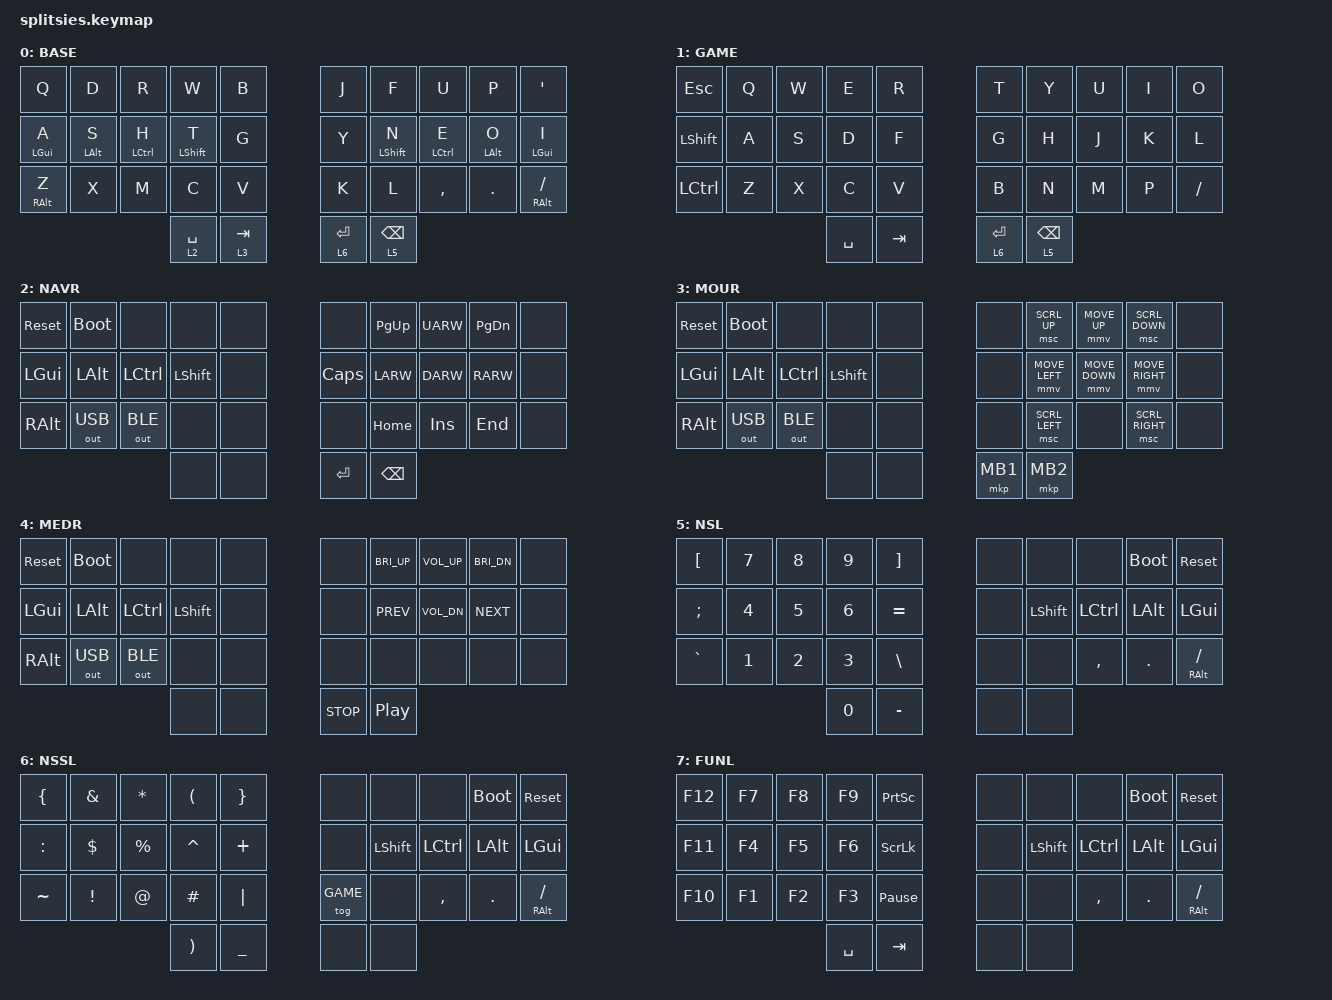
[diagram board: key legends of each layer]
#define ZMK_POINTING_DEFAULT_MOVE_VAL 2000  // 600
#define ZMK_POINTING_DEFAULT_SCRL_VAL 15    // 10

#include <behaviors.dtsi>
#include <dt-bindings/zmk/keys.h>
#include <dt-bindings/zmk/bt.h>
#include <dt-bindings/zmk/pointing.h>
#include <dt-bindings/zmk/outputs.h>

#define BASE 0
#define GAME 1
#define NAVR 2
#define MOUR 3
#define MEDR 4
#define NSL  5
#define NSSL 6
#define FUNL 7

&mt {
    tapping-term-ms = <165>;
    quick-tap-ms = <165>;
    flavor = "tap-preferred";
};

&lt {
    tapping-term-ms = <165>;
    quick-tap-ms = <165>;
    flavor = "tap-preferred";
};

/ {
  behaviors {
    mmv {
    acceleration-exponent = <1>;      // 1
    time-to-max-speed-ms = <150>;    // 40
    delay-ms = <0>;                   // 0
    };

    msc {
    acceleration-exponent = <0>;      // 0
    time-to-max-speed-ms = <150>;      // 500
    delay-ms = <0>;                   // 10
    };
  };
  combos {
    compatible = "zmk,combos";	 //combos key position follow actual key position from left to right, top to bottom.
    
    combo_medr {
    timeout-ms = <50>;
    key-positions = <30 31>;
    bindings = <&lt 4 ESC>;
    layers = <0>;
    };
    
    combo_funl {
    timeout-ms = <50>;
    key-positions = <32 33>;
    bindings = <&lt 7 DEL>;
    layers = <0>;
    };	
	
    combo_del {
    timeout-ms = <50>;
    key-positions = <32 33>;
    bindings = <&kp DEL>;
    layers = <2>;
    };	

    combo_mb3 {
    timeout-ms = <50>;
    key-positions = <32 33>;
    bindings = <&mkp MB3>;
    layers = <3>;
    };	

    combo_mute {
    timeout-ms = <50>;
    key-positions = <32 33>;
    bindings = <&kp K_MUTE>;
    layers = <4>;
    };	

    combo_dot {
    timeout-ms = <50>;
    key-positions = <30 31>;
    bindings = <&kp DOT>;
    layers = <5>;
    };	

    combo_lpar {
    timeout-ms = <50>;
    key-positions = <30 31>;
    bindings = <&kp LPAR>;
    layers = <6>;
    };	

    combo_app {
    timeout-ms = <50>;
    key-positions = <30 31>;
    bindings = <&kp K_APP>;
    layers = <7>;
    };		
  }; 
   
      keymap {
          compatible = "zmk,keymap";

          BASE {
          bindings = <
                
          &kp Q       &kp D       &kp R        &kp W         &kp B   &kp J  &kp F         &kp U        &kp P       &kp SQT
          &mt LGUI A  &mt LALT S  &mt LCTRL H  &mt LSHIFT T  &kp G   &kp Y  &mt LSHIFT N  &mt LCTRL E  &mt LALT O  &mt LGUI I
          &mt RALT Z  &kp X       &kp M        &kp C         &kp V   &kp K  &kp L         &kp COMMA    &kp DOT     &mt RALT SLASH
                                           &lt 2 SPACE   &lt 3 TAB   &lt 6 ENTER  &lt 5 BKSP     
            
          >;
          };  

          GAME {
          bindings = <
                
          &kp ESC     &kp Q  &kp W  &kp E  &kp R   &kp T  &kp Y  &kp U  &kp I  &kp O
          &kp LSHIFT  &kp A  &kp S  &kp D  &kp F   &kp G  &kp H  &kp J  &kp K  &kp L
          &kp LCTRL   &kp Z  &kp X  &kp C  &kp V   &kp B  &kp N  &kp M  &kp P  &kp SLASH
                              &kp SPACE  &kp TAB   &lt 6 ENTER  &lt 5 BKSP     
            
          >;
          };          

          NAVR {
          bindings = <
         
          &sys_reset    &bootloader   &none         &none       &none   &none     &kp PG_UP  &kp UARW  &kp PG_DN  &none
          &kp LGUI      &kp LALT      &kp LCTRL     &kp LSHIFT  &none   &kp CAPS  &kp LARW   &kp DARW  &kp RARW   &none
          &kp RALT      &out OUT_USB  &out OUT_BLE  &none       &none   &none     &kp HOME   &kp INS   &kp END    &none
                                                         &none  &none   &kp ENTER &kp BKSP  
                  
          >;
          };
         
          MOUR {
          bindings = <
         
          &sys_reset    &bootloader   &none         &none       &none   &none  &msc SCRL_UP    &mmv MOVE_UP    &msc SCRL_DOWN   &none
          &kp LGUI      &kp LALT      &kp LCTRL     &kp LSHIFT  &none   &none  &mmv MOVE_LEFT  &mmv MOVE_DOWN  &mmv MOVE_RIGHT  &none
          &kp RALT      &out OUT_USB  &out OUT_BLE  &none       &none   &none  &msc SCRL_LEFT  &none           &msc SCRL_RIGHT  &none
                                                         &none  &none   &mkp MB1  &mkp MB2
         
          >;
          };

          MEDR {
          bindings = <
         
          &sys_reset    &bootloader   &none         &none       &none   &none  &kp C_BRI_UP  &kp C_VOL_UP  &kp C_BRI_DN  &none
          &kp LGUI      &kp LALT      &kp LCTRL     &kp LSHIFT  &none   &none  &kp C_PREV    &kp C_VOL_DN  &kp C_NEXT    &none
          &kp RALT      &out OUT_USB  &out OUT_BLE  &none       &none   &none  &none         &none         &none         &none
                                                         &none  &none   &kp C_STOP  &kp C_PLAY_PAUSE  
         
          >;
          };
         
          NSL  {
          bindings = <
         
          &kp LBKT   &kp N7  &kp N8  &kp N9  &kp RBKT   &none   &none       &none      &bootloader  &sys_reset
          &kp SEMI   &kp N4  &kp N5  &kp N6  &kp EQUAL  &none   &kp LSHIFT  &kp LCTRL  &kp LALT     &kp LGUI
          &kp GRAVE  &kp N1  &kp N2  &kp N3  &kp BSLH   &none   &none       &kp COMMA  &kp DOT      &mt RALT SLASH
                                            &kp N0  &kp MINUS   &none  &none  
         
          >;
          };
         
          NSSL {
          bindings = <
         
          &kp LBRC   &kp AMPS  &kp ASTRK  &kp LPAR   &kp RBRC   &none      &none       &none      &bootloader  &sys_reset
          &kp COLON  &kp DLLR  &kp PRCNT  &kp CARET  &kp PLUS   &none      &kp LSHIFT  &kp LCTRL  &kp LALT     &kp LGUI
          &kp TILDE  &kp EXCL  &kp AT     &kp HASH   &kp PIPE   &tog GAME  &none       &kp COMMA  &kp DOT      &mt RALT SLASH
                                          &kp RPAR  &kp UNDER   &none  &none  
         
          >;
          };         
         
          FUNL {
          bindings = <
         
          &kp F12  &kp F7  &kp F8  &kp F9  &kp PSCRN        &none   &none       &none      &bootloader  &sys_reset
          &kp F11  &kp F4  &kp F5  &kp F6  &kp SLCK         &none   &kp LSHIFT  &kp LCTRL  &kp LALT     &kp LGUI
          &kp F10  &kp F1  &kp F2  &kp F3  &kp PAUSE_BREAK  &none   &none       &kp COMMA  &kp DOT      &mt RALT SLASH
                                               &kp SPACE  &kp TAB   &none  &none  
         
          >;
          };      
      };
};
